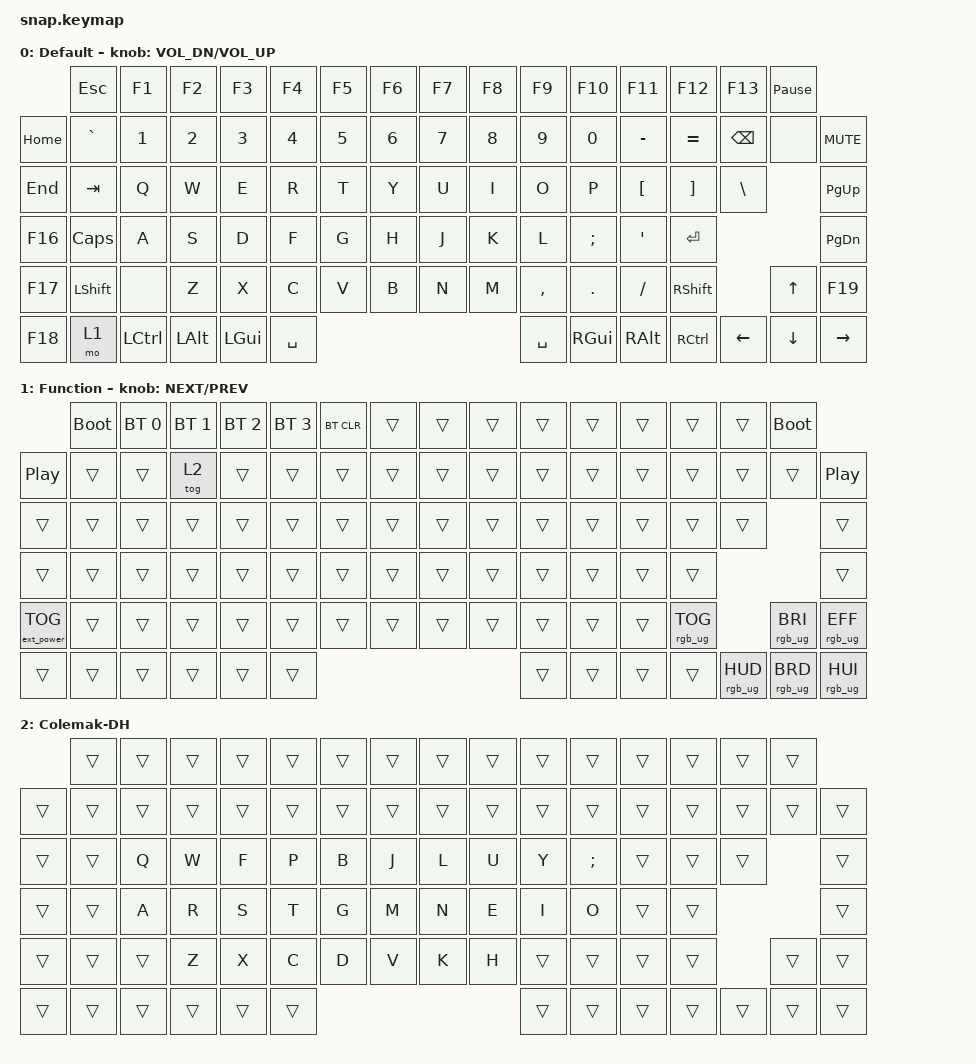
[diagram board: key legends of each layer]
/*
 * Copyright (c) 2022 The ZMK Contributors
 *
 * SPDX-License-Identifier: MIT
 */

#include <behaviors.dtsi>
#include <dt-bindings/zmk/bt.h>
#include <dt-bindings/zmk/ext_power.h>
#include <dt-bindings/zmk/keys.h>
#include <dt-bindings/zmk/rgb.h>

/ {
    sensors: sensors {
        compatible = "zmk,keymap-sensors";
        sensors = <&right_encoder>;
        triggers-per-rotation = <20>;
    };

    keymap {
        compatible = "zmk,keymap";

        QWERTY {
            display-name = "Default";
            sensor-bindings = <&inc_dec_kp C_VOL_DN C_VOL_UP>;
            bindings = <
          &kp ESC    &kp F1     &kp F2    &kp F3        &kp F4     &kp F5  &kp F6  &kp F7  &kp F8  &kp F9     &kp F10        &kp F11    &kp F12    &kp F13   &kp PAUSE_BREAK
&kp HOME  &kp GRAVE  &kp N1     &kp N2    &kp N3        &kp N4     &kp N5  &kp N6  &kp N7  &kp N8  &kp N9     &kp N0         &kp MINUS  &kp EQUAL  &kp BSPC  &none            &kp C_MUTE
&kp END   &kp TAB    &kp Q      &kp W     &kp E         &kp R      &kp T   &kp Y   &kp U   &kp I   &kp O      &kp P          &kp LBKT   &kp RBKT   &kp BSLH                   &kp PG_UP
&kp F16   &kp CLCK   &kp A      &kp S     &kp D         &kp F      &kp G   &kp H   &kp J   &kp K   &kp L      &kp SEMI       &kp SQT    &kp RET                               &kp PG_DN
&kp F17   &kp LSHFT  &none      &kp Z     &kp X         &kp C      &kp V   &kp B   &kp N   &kp M   &kp COMMA  &kp DOT        &kp FSLH   &kp RSHFT            &kp UP           &kp F19
&kp F18   &mo 1      &kp LCTRL  &kp LALT  &kp LEFT_GUI  &kp SPACE                                  &kp SPACE  &kp RIGHT_GUI  &kp RALT   &kp RCTRL  &kp LEFT  &kp DOWN         &kp RIGHT
            >;
        };

        function_layer {
            display-name = "Function";
            sensor-bindings = <&inc_dec_kp C_NEXT C_PREV>;
            bindings = <
                   &bootloader  &bt BT_SEL 0  &bt BT_SEL 1  &bt BT_SEL 2  &bt BT_SEL 3  &bt BT_CLR  &trans  &trans  &trans  &trans  &trans  &trans  &trans           &trans           &bootloader
&kp C_PP           &trans       &trans        &tog 2        &trans        &trans        &trans      &trans  &trans  &trans  &trans  &trans  &trans  &trans           &trans           &trans           &kp C_PP
&trans             &trans       &trans        &trans        &trans        &trans        &trans      &trans  &trans  &trans  &trans  &trans  &trans  &trans           &trans                            &trans
&trans             &trans       &trans        &trans        &trans        &trans        &trans      &trans  &trans  &trans  &trans  &trans  &trans  &trans                                             &trans
&ext_power EP_TOG  &trans       &trans        &trans        &trans        &trans        &trans      &trans  &trans  &trans  &trans  &trans  &trans  &rgb_ug RGB_TOG                   &rgb_ug RGB_BRI  &rgb_ug RGB_EFF
&trans             &trans       &trans        &trans        &trans        &trans                                            &trans  &trans  &trans  &trans           &rgb_ug RGB_HUD  &rgb_ug RGB_BRD  &rgb_ug RGB_HUI
            >;
        };

        Colemak-DH {
            bindings = <
        &trans  &trans  &trans  &trans  &trans  &trans  &trans  &trans  &trans  &trans  &trans    &trans  &trans  &trans  &trans
&trans  &trans  &trans  &trans  &trans  &trans  &trans  &trans  &trans  &trans  &trans  &trans    &trans  &trans  &trans  &trans  &trans
&trans  &trans  &kp Q   &kp W   &kp F   &kp P   &kp B   &kp J   &kp L   &kp U   &kp Y   &kp SEMI  &trans  &trans  &trans          &trans
&trans  &trans  &kp A   &kp R   &kp S   &kp T   &kp G   &kp M   &kp N   &kp E   &kp I   &kp O     &trans  &trans                  &trans
&trans  &trans  &trans  &kp Z   &kp X   &kp C   &kp D   &kp V   &kp K   &kp H   &trans  &trans    &trans  &trans          &trans  &trans
&trans  &trans  &trans  &trans  &trans  &trans                                  &trans  &trans    &trans  &trans  &trans  &trans  &trans
            >;
        };
    };
};
